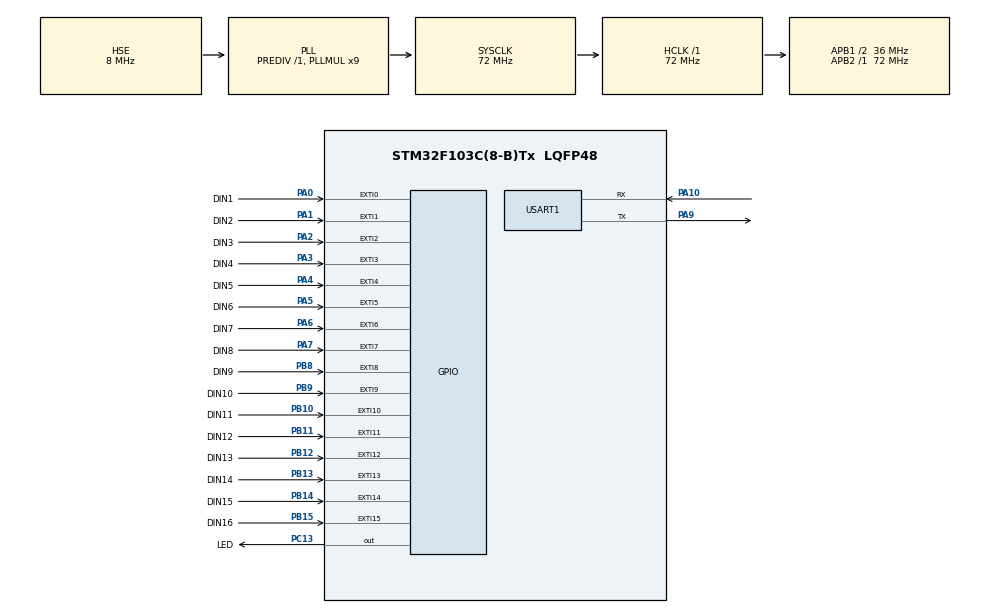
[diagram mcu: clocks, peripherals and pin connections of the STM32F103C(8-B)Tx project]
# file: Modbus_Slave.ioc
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Dma.Request0=USART1_RX
Dma.USART1_RX.0.Direction=DMA_PERIPH_TO_MEMORY
Dma.USART1_RX.0.Instance=DMA1_Channel5
Dma.USART1_RX.0.MemDataAlignment=DMA_MDATAALIGN_BYTE
Dma.USART1_RX.0.MemInc=DMA_MINC_ENABLE
Dma.USART1_RX.0.Mode=DMA_NORMAL
Dma.USART1_RX.0.PeriphDataAlignment=DMA_PDATAALIGN_BYTE
Dma.USART1_RX.0.PeriphInc=DMA_PINC_DISABLE
Dma.USART1_RX.0.Priority=DMA_PRIORITY_MEDIUM
Mcu.Family=STM32F1
Mcu.Name=STM32F103C(8-B)Tx
Mcu.Package=LQFP48
NVIC.DMA1_Channel5_IRQn=true\:0\:0\:false\:false\:true\:false\:true
NVIC.EXTI0_IRQn=true\:0\:0\:false\:false\:true\:true\:true
NVIC.EXTI15_10_IRQn=true\:0\:0\:false\:false\:true\:true\:true
NVIC.EXTI1_IRQn=true\:0\:0\:false\:false\:true\:true\:true
NVIC.EXTI2_IRQn=true\:0\:0\:false\:false\:true\:true\:true
NVIC.EXTI3_IRQn=true\:0\:0\:false\:false\:true\:true\:true
NVIC.EXTI4_IRQn=true\:0\:0\:false\:false\:true\:true\:true
NVIC.EXTI9_5_IRQn=true\:0\:0\:false\:false\:true\:true\:true
NVIC.PriorityGroup=NVIC_PRIORITYGROUP_4
NVIC.TIM2_IRQn=true\:0\:0\:false\:false\:true\:true\:true
NVIC.USART1_IRQn=true\:0\:0\:false\:false\:true\:true\:true
PA0-WKUP.GPIO_Label=DIN1
PA0-WKUP.GPIO_ModeDefaultEXTI=GPIO_MODE_IT_RISING_FALLING
PA0-WKUP.GPIO_PuPd=GPIO_PULLUP
PA0-WKUP.Signal=GPXTI0
PA1.GPIO_Label=DIN2
PA1.GPIO_ModeDefaultEXTI=GPIO_MODE_IT_RISING_FALLING
PA1.GPIO_PuPd=GPIO_PULLUP
PA1.Signal=GPXTI1
PA10.Mode=Asynchronous
PA10.Signal=USART1_RX
PA13.Mode=Serial_Wire
PA13.Signal=SYS_JTMS-SWDIO
PA14.Mode=Serial_Wire
PA14.Signal=SYS_JTCK-SWCLK
PA2.GPIO_Label=DIN3
PA2.GPIO_ModeDefaultEXTI=GPIO_MODE_IT_RISING_FALLING
PA2.GPIO_PuPd=GPIO_PULLUP
PA2.Signal=GPXTI2
PA3.GPIO_Label=DIN4
PA3.GPIO_ModeDefaultEXTI=GPIO_MODE_IT_RISING_FALLING
PA3.GPIO_PuPd=GPIO_PULLUP
PA3.Signal=GPXTI3
PA4.GPIO_Label=DIN5
PA4.GPIO_ModeDefaultEXTI=GPIO_MODE_IT_RISING_FALLING
PA4.GPIO_PuPd=GPIO_PULLUP
PA4.Signal=GPXTI4
PA5.GPIO_Label=DIN6
PA5.GPIO_ModeDefaultEXTI=GPIO_MODE_IT_RISING_FALLING
PA5.GPIO_PuPd=GPIO_PULLUP
PA5.Signal=GPXTI5
PA6.GPIO_Label=DIN7
PA6.GPIO_ModeDefaultEXTI=GPIO_MODE_IT_RISING_FALLING
PA6.GPIO_PuPd=GPIO_PULLUP
PA6.Signal=GPXTI6
PA7.GPIO_Label=DIN8
PA7.GPIO_ModeDefaultEXTI=GPIO_MODE_IT_RISING_FALLING
PA7.GPIO_PuPd=GPIO_PULLUP
PA7.Signal=GPXTI7
PA9.Mode=Asynchronous
PA9.Signal=USART1_TX
PB10.GPIO_Label=DIN11
PB10.GPIO_ModeDefaultEXTI=GPIO_MODE_IT_RISING_FALLING
PB10.GPIO_PuPd=GPIO_PULLUP
PB10.Signal=GPXTI10
PB11.GPIO_Label=DIN12
PB11.GPIO_ModeDefaultEXTI=GPIO_MODE_IT_RISING_FALLING
PB11.GPIO_PuPd=GPIO_PULLUP
PB11.Signal=GPXTI11
PB12.GPIO_Label=DIN13
PB12.GPIO_ModeDefaultEXTI=GPIO_MODE_IT_RISING_FALLING
PB12.GPIO_PuPd=GPIO_PULLUP
PB12.Signal=GPXTI12
PB13.GPIO_Label=DIN14
PB13.GPIO_ModeDefaultEXTI=GPIO_MODE_IT_RISING_FALLING
PB13.GPIO_PuPd=GPIO_PULLUP
PB13.Signal=GPXTI13
PB14.GPIO_Label=DIN15
PB14.GPIO_ModeDefaultEXTI=GPIO_MODE_IT_RISING_FALLING
PB14.GPIO_PuPd=GPIO_PULLUP
PB14.Signal=GPXTI14
PB15.GPIO_Label=DIN16
PB15.GPIO_ModeDefaultEXTI=GPIO_MODE_IT_RISING_FALLING
PB15.GPIO_PuPd=GPIO_PULLUP
PB15.Signal=GPXTI15
PB8.GPIO_Label=DIN9
PB8.GPIO_ModeDefaultEXTI=GPIO_MODE_IT_RISING_FALLING
PB8.GPIO_PuPd=GPIO_PULLUP
PB8.Signal=GPXTI8
PB9.GPIO_Label=DIN10
PB9.GPIO_ModeDefaultEXTI=GPIO_MODE_IT_RISING_FALLING
PB9.GPIO_PuPd=GPIO_PULLUP
PB9.Signal=GPXTI9
PC13-TAMPER-RTC.GPIO_Label=LED
PC13-TAMPER-RTC.GPIO_ModeDefaultOutputPP=GPIO_MODE_OUTPUT_PP
PC13-TAMPER-RTC.GPIO_PuPd=GPIO_PULLDOWN
PC13-TAMPER-RTC.GPIO_Speed=GPIO_SPEED_FREQ_MEDIUM
PC13-TAMPER-RTC.PinState=GPIO_PIN_RESET
PC13-TAMPER-RTC.Signal=GPIO_Output
PC14-OSC32_IN.Mode=LSE-External-Oscillator
PC14-OSC32_IN.Signal=RCC_OSC32_IN
PC15-OSC32_OUT.Mode=LSE-External-Oscillator
PC15-OSC32_OUT.Signal=RCC_OSC32_OUT
PD0-OSC_IN.Mode=HSE-External-Oscillator
PD0-OSC_IN.Signal=RCC_OSC_IN
PD1-OSC_OUT.Mode=HSE-External-Oscillator
PD1-OSC_OUT.Signal=RCC_OSC_OUT
ProjectManager.HeapSize=0x200
ProjectManager.StackSize=0x400
ProjectManager.TargetToolchain=TrueSTUDIO
RCC.AHBFreq_Value=72000000
RCC.APB1CLKDivider=RCC_HCLK_DIV2
RCC.APB1Freq_Value=36000000
RCC.APB1TimFreq_Value=72000000
RCC.APB2Freq_Value=72000000
RCC.APB2TimFreq_Value=72000000
RCC.HCLKFreq_Value=72000000
RCC.PLLMUL=RCC_PLL_MUL9
RCC.PLLSourceVirtual=RCC_PLLSOURCE_HSE
RCC.SYSCLKFreq_VALUE=72000000
RCC.SYSCLKSource=RCC_SYSCLKSOURCE_PLLCLK
RCC.USBFreq_Value=72000000
TIM2.AutoReloadPreload=TIM_AUTORELOAD_PRELOAD_ENABLE
TIM2.Period=35999
TIM2.Prescaler=1
USART1.VirtualMode=VM_ASYNC
VP_TIM2_VS_ClockSourceINT.Mode=Internal
board=custom

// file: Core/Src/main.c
/* USER CODE BEGIN Header */
/**
  ******************************************************************************
  * @file           : main.c
  * @brief          : Main program body
  ******************************************************************************
  * @attention
  *
  * <h2><center>&copy; Copyright (c) 2019 STMicroelectronics.
  * All rights reserved.</center></h2>
  *
  * This software component is licensed by ST under BSD 3-Clause license,
  * the "License"; You may not use this file except in compliance with the
  * License. You may obtain a copy of the License at:
  *                        opensource.org/licenses/BSD-3-Clause
  *
  ******************************************************************************
  */
/* USER CODE END Header */

#include "main.h"
#include "dma.h"
#include "tim.h"
#include "usart.h"
#include "gpio.h"

/* USER CODE BEGIN Includes */
#include "Modbus/mb.h"
#include "dataRegs.h"

ModbusSlave mbSlave;
/* USER CODE END Includes */

void SystemClock_Config(void);

int main(void)
{

  /* MCU Configuration--------------------------------------------------------*/

  /* Reset of all peripherals, Initializes the Flash interface and the Systick. */
  HAL_Init();

  /* USER CODE BEGIN Init */

  // Чтение конфигурации
  readConfig();

  //preloadDefaultConfig();

  /* USER CODE END Init */

  /* Configure the system clock */
  SystemClock_Config();

  /* USER CODE BEGIN SysInit */

  // Задаем массив под входной пакет MODBUS приемный буфер UART'a
  RS485receiver.buffer = mbSlave.request.frame;

  /* USER CODE END SysInit */

  /* Initialize all configured peripherals */
  MX_GPIO_Init();
  MX_DMA_Init();
  MX_USART1_UART_Init();
  MX_TIM2_Init();
  /* USER CODE BEGIN 2 */

  // запускаем таймер для реализации таймаута при чтении по UART
  HAL_TIM_Base_Start_IT(&htim2);

  // активируем механизм приема данных с таймаутом.
  HAL_UART_Receive_DMA(&huart1, &RS485receiver.rcv, 1);
  /* USER CODE END 2 */

  /* Infinite loop */
  /* USER CODE BEGIN WHILE */
  //инициализация карты данных
  allocateDataInMap();
  exportConfigToMemMap();

  //подготовка RS485 к работе
  RS485receiver.size = 0;
  RS485receiver.timeout = 0;
  DebounseTime = 0;

  //чтение состояний входов на момент инициализации
  *((u8*)memMapDigInput[AP_DIGIN_DATA_INPUTS].dataPoint) = ~((GPIOA->IDR) & 0xff) & ACT_INPUT_MACRO_L;
  *((u8*)memMapDigInput[AP_DIGIN_DATA_INPUTS].dataPoint + 1) = ~((GPIOB->IDR >> 8) & 0xff) & ACT_INPUT_MACRO_H;
  // конфигурация Slave modbus
  MB_SlaveInit();

  while (1)
  {
    /* USER CODE END WHILE */

    /* USER CODE BEGIN 3 */

	  // Если пакет пришел, то разбираем его и отправляем ответный пакет
	  if(mbSlave.request.length > 0)
	  {
	  	  HAL_GPIO_WritePin(LED_GPIO_Port, LED_Pin, GPIO_PIN_RESET);
	  	  //Разбор пакета (комплексный)
	  	  ModbusError err = modbusParseRequest(&mbSlave);
		  // сброс размера длины входного пакета, ибо по нему проверяем что к нам пришел пакет
	  	  mbSlave.request.length = 0;
	  	  if(err != MODBUS_ERROR_OK)
	  	  {
	  		RS485receiver.size = 0;
	  		RS485receiver.timeout = 0;
	  	  }
	  	  // отправляем ответ
	  	  HAL_UART_Transmit(&huart1, mbSlave.response.frame, mbSlave.response.length, 230);
	  	  //HAL_Delay(100);
	  	  HAL_GPIO_WritePin(LED_GPIO_Port, LED_Pin, GPIO_PIN_SET);

	  	  //сохранения конфига, принятого по модбасу и применение новых настроек
	  	  if(err == MODBUS_ERROR_OK && (mbSlave.request.frame[1] == 6 || mbSlave.request.frame[1] == 16))
	  	  {
	  		 importCfgFromMemAndSave();
	  		 HAL_UART_DeInit(&huart1);
	  		 MX_USART1_UART_Init();
	  		 modbusSlaveEnd(&mbSlave);
	  		 MB_SlaveInit();
	  		 HAL_UART_Receive_DMA(&huart1, &RS485receiver.rcv, 1);
	  		 RS485receiver.size = 0;
	  		 RS485receiver.timeout = 0;
	  		 //сбрасываем инфу о команде, чтобы повторно сюда не забредать без надобности
	  		 mbSlave.request.frame[1] = 0;
	  	  }
	  }
  }
  /* USER CODE END 3 */
}

void SystemClock_Config(void)
{
  RCC_OscInitTypeDef RCC_OscInitStruct = {0};
  RCC_ClkInitTypeDef RCC_ClkInitStruct = {0};

  /** Initializes the CPU, AHB and APB busses clocks
  */
  RCC_OscInitStruct.OscillatorType = RCC_OSCILLATORTYPE_HSE;
  RCC_OscInitStruct.HSEState = RCC_HSE_ON;
  RCC_OscInitStruct.HSEPredivValue = RCC_HSE_PREDIV_DIV1;
  RCC_OscInitStruct.HSIState = RCC_HSI_ON;
  RCC_OscInitStruct.PLL.PLLState = RCC_PLL_ON;
  RCC_OscInitStruct.PLL.PLLSource = RCC_PLLSOURCE_HSE;
  RCC_OscInitStruct.PLL.PLLMUL = RCC_PLL_MUL9;
  if (HAL_RCC_OscConfig(&RCC_OscInitStruct) != HAL_OK)
  {
    Error_Handler();
  }
  /** Initializes the CPU, AHB and APB busses clocks
  */
  RCC_ClkInitStruct.ClockType = RCC_CLOCKTYPE_HCLK|RCC_CLOCKTYPE_SYSCLK
                              |RCC_CLOCKTYPE_PCLK1|RCC_CLOCKTYPE_PCLK2;
  RCC_ClkInitStruct.SYSCLKSource = RCC_SYSCLKSOURCE_PLLCLK;
  RCC_ClkInitStruct.AHBCLKDivider = RCC_SYSCLK_DIV1;
  RCC_ClkInitStruct.APB1CLKDivider = RCC_HCLK_DIV2;
  RCC_ClkInitStruct.APB2CLKDivider = RCC_HCLK_DIV1;

  if (HAL_RCC_ClockConfig(&RCC_ClkInitStruct, FLASH_LATENCY_2) != HAL_OK)
  {
    Error_Handler();
  }
}

void Error_Handler(void)
{
}

/************************ (C) COPYRIGHT STMicroelectronics *****END OF FILE****/
